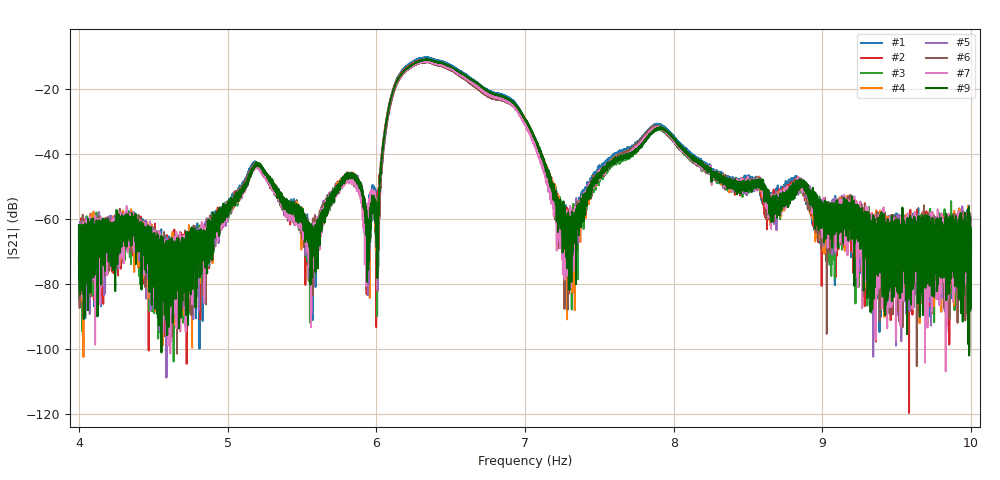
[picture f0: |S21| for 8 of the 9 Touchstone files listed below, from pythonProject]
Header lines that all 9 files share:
!Created with skrf (http://scikit-rf.org).
# Hz S RI R 50.0
!freq ReS11 ImS11 ReS21 ImS21 ReS12 ImS12 ReS22 ImS22
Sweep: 4 Hz to 10 Hz
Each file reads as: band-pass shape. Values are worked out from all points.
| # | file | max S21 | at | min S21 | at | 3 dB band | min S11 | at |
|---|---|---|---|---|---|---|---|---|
| 1 | Measurement_00080.s2p | -10.09 dB | 6.341 Hz | -100.0 dB | 4.811 Hz | 6.195 Hz-6.522 Hz | -33.1 dB | 6.641 Hz |
| 2 | Measurement_00084.s2p | -10.77 dB | 6.343 Hz | -119.8 dB | 9.583 Hz | 6.191 Hz-6.514 Hz | -39.1 dB | 6.612 Hz |
| 3 | Measurement_00085.s2p | -11.27 dB | 6.341 Hz | -103.9 dB | 4.637 Hz | 6.194 Hz-6.52 Hz | -30.3 dB | 6.61 Hz |
| 4 | Measurement_00086.s2p | -10.79 dB | 6.338 Hz | -102.5 dB | 4.03 Hz | 6.198 Hz-6.52 Hz | -37.0 dB | 6.612 Hz |
| 5 | Measurement_00087.s2p | -11.18 dB | 6.341 Hz | -108.9 dB | 4.588 Hz | 6.196 Hz-6.52 Hz | -43.3 dB | 6.609 Hz |
| 6 | Measurement_00090.s2p | -11.56 dB | 6.338 Hz | -105.3 dB | 9.635 Hz | 6.195 Hz-6.519 Hz | -34.3 dB | 6.612 Hz |
| 7 | Measurement_00093.s2p | -11.35 dB | 6.338 Hz | -107.0 dB | 9.829 Hz | 6.194 Hz-6.526 Hz | -40.1 dB | 6.612 Hz |
| 8 | Measurement_00096.s2p | -10.39 dB | 6.338 Hz | -100.2 dB | 9.913 Hz | 6.202 Hz-6.525 Hz | -56.1 dB | 6.62 Hz |
| 9 | Measurement_00097.s2p | -10.75 dB | 6.346 Hz | -102.1 dB | 9.987 Hz | 6.202 Hz-6.529 Hz | -53.1 dB | 6.624 Hz |
